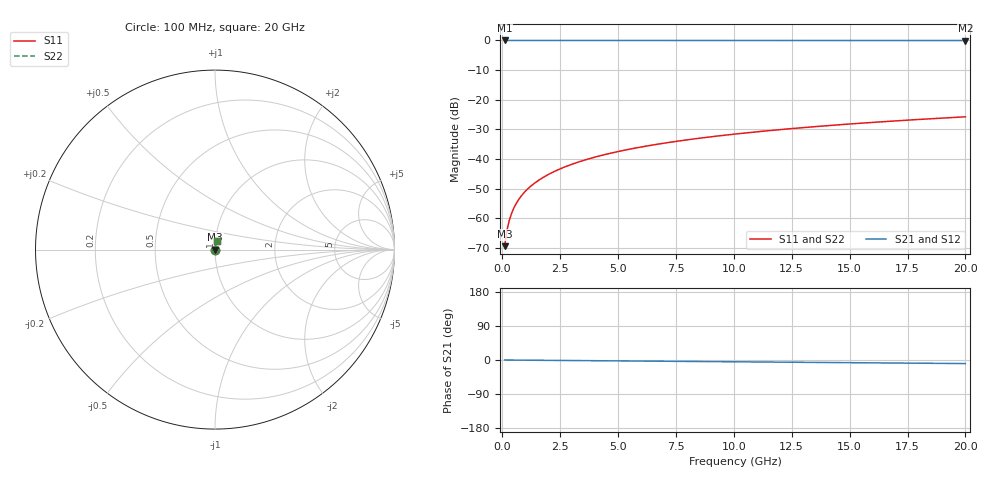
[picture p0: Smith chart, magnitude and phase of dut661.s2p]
! Touchstone file exported from HFSS 2026.1.0
!  File:  C:/ffzhzh/LocalFiles/Ansys_Project_Files/temp_train_TSV_661_1783026920_55676.aedt
!  Generated:  05:17:04 AM Jul  3, 2026
!  Design:  TSV
!  Project:  temp_train_TSV_661_1783026920_55676
! Variables:
!  h_bsmrdl = 2um
!  h_ox = 20um
!  h_rdl = 5um
!  h_sub = 85.93um
!  h_tmrdl = 5um
!  h_tsv = 85.93um
!  h_via = 3um
!  l_bsmrdl = 300um
!  l_sub = 418.34um
!  l_tmrdl = 200um
!  m_sub = 200um
!  pitch = 55.84um
!  r_tsv = 9.17um
!  s_tmrdl = 10um
!  w_bsmrdl = 18um
!  w_sub = 500um
!  w_tmrdl = 12um
!  x_tsv_center1 = 206um
!  x_tsv_center2 = 524um
!  x_tsv_center3 = 736um
!  x_tsv_center4 = 1054um
!  x_tsv_center5 = 1266um
!  x_tsv_center6 = 1584um
# GHz S MA R 50.000000
! Terminal data exported
! Port[1] = TSV1_1_T1
! Port[2] = TSV1_1_T2
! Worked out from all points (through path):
!   200 points, 100 MHz to 20 GHz, reference 50 ohm
!   highest |S21| = 0.00 dB at 100 MHz (marker M1); lowest = 0.0 dB at 20 GHz (marker M2)
!   group delay of S21, straight-line fit = 1.3 ps
!   lowest |S11| = -69.5 dB at 100 MHz (marker M3), VSWR 1.00, Z = 50 + j0.0301 ohm
!   |S11| at or under -10 dB: start of sweep to end of sweep
!   |S22| runs from -69.5 to -25.8 dB; largest |S21 - S12| = 2.4e-15
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0.1  0.0003369 63.5  0.9998 -0.0  0.9998 -0.0  0.0003369 63.5
! Gamma 0 0 0 0
! Port Impedance 50 0 50 0
0.2  0.000622 74.9  0.9998 -0.1  0.9998 -0.1  0.000622 74.9
0.3  0.0009136 78.7  0.9998 -0.1  0.9998 -0.1  0.0009136 78.7
0.4  0.001203 80.4  0.9998 -0.2  0.9998 -0.2  0.001203 80.4
0.5  0.001488 81.3  0.9998 -0.2  0.9998 -0.2  0.001488 81.3
0.6  0.001769 81.8  0.9998 -0.3  0.9998 -0.3  0.001769 81.8
0.7  0.002046 82.2  0.9997 -0.3  0.9997 -0.3  0.002046 82.2
0.8  0.002319 82.5  0.9997 -0.4  0.9997 -0.4  0.002319 82.5
1  0.002857 83.0  0.9997 -0.5  0.9997 -0.5  0.002857 83.0
1.4  0.003917 83.6  0.9996 -0.7  0.9996 -0.7  0.003917 83.6
1.7  0.004707 84.0  0.9996 -0.8  0.9996 -0.8  0.004707 84.0
2  0.005494 84.3  0.9995 -1.0  0.9995 -1.0  0.005494 84.3
2.7  0.00733 84.7  0.9995 -1.3  0.9995 -1.3  0.00733 84.7
3.5  0.009423 84.8  0.9994 -1.7  0.9994 -1.7  0.009423 84.8
4.2  0.01125 84.8  0.9993 -2.0  0.9993 -2.0  0.01125 84.8
5  0.01333 84.6  0.9992 -2.4  0.9992 -2.4  0.01333 84.6
6.8  0.01797 84.2  0.999 -3.2  0.999 -3.2  0.01797 84.2
8.3  0.02183 83.7  0.9989 -3.9  0.9989 -3.9  0.02183 83.7
10.1  0.02643 83.1  0.9987 -4.8  0.9987 -4.8  0.02643 83.1
13.4  0.03482 81.8  0.9983 -6.3  0.9983 -6.3  0.03482 81.8
16.7  0.04316 80.5  0.9978 -7.8  0.9978 -7.8  0.04316 80.5
20  0.05141 79.1  0.9973 -9.4  0.9973 -9.4  0.05141 79.0
